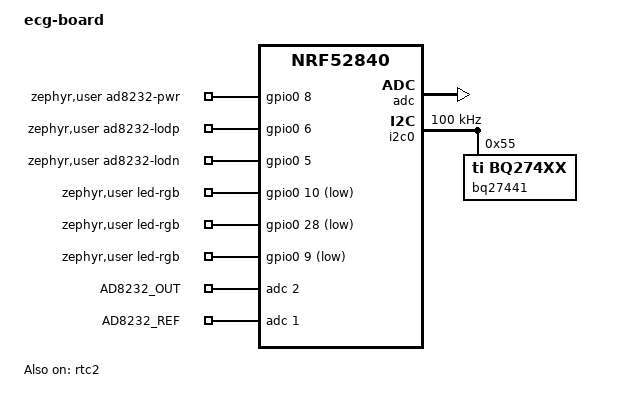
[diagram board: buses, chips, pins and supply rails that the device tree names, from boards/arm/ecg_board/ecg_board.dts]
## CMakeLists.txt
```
#
# Copyright (c) 2018 Nordic Semiconductor
#
# SPDX-License-Identifier: LicenseRef-Nordic-5-Clause
#
cmake_minimum_required(VERSION 3.20.0)
find_package(Zephyr REQUIRED HINTS $ENV{ZEPHYR_BASE})
project(NONE)

# Protobuf c source files generation
#set(NANOPB_OPTIONS "-I${CMAKE_SOURCE_DIR}")
#nanopb_generate_cpp(proto_sources proto_headers RELPATH .
#  protocol/renforce.proto
#)
list(APPEND CMAKE_MODULE_PATH ${ZEPHYR_BASE}/modules/nanopb)
include(nanopb)
zephyr_nanopb_sources(app protocol/protocol.proto)

# Make protobuf generated header files (in build dir) available to source files
#zephyr_library_include_directories(${CMAKE_CURRENT_BINARY_DIR})

# Include needed source files for build
FILE(GLOB app_sources src/*c src/bluetooth/*.c src/nanocobs/*.c src/calendar/*.c)

# Create app from source files AND protobuf files
#target_sources(app PRIVATE ${proto_sources} ${app_sources})
target_sources(app PRIVATE ${app_sources})
```

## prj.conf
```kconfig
CONFIG_ASSERT=n
CONFIG_SETTINGS=y
CONFIG_SETTINGS_RUNTIME=y
CONFIG_GPIO=y
CONFIG_ADC=y
CONFIG_I2C=y
CONFIG_NANOPB=y
CONFIG_SENSOR=y
CONFIG_BQ274XX=y

# Use RTC counter for calendar
CONFIG_COUNTER=y

# Log console
CONFIG_LOG=y
CONFIG_LOG_MODE_IMMEDIATE=n
CONFIG_CONSOLE=y
CONFIG_RTT_CONSOLE=y
CONFIG_USE_SEGGER_RTT=y

# Flash memory
CONFIG_FLASH=y
CONFIG_FLASH_LOG_LEVEL_OFF=y
CONFIG_FLASH_MAP=y
CONFIG_NVS=y
CONFIG_NVS_LOG_LEVEL_OFF=y

# Bluetooth
CONFIG_BT=y
CONFIG_BT_SMP=y
CONFIG_BT_SETTINGS=y
CONFIG_BT_LOG_LEVEL_OFF=y

CONFIG_BT_PERIPHERAL=y
CONFIG_BT_PERIPHERAL_PREF_MIN_INT=24
CONFIG_BT_PERIPHERAL_PREF_MAX_INT=48
CONFIG_BT_PERIPHERAL_PREF_LATENCY=4
CONFIG_BT_PERIPHERAL_PREF_TIMEOUT=200

CONFIG_BT_DEVICE_NAME_DYNAMIC=y
CONFIG_BT_DEVICE_NAME_MAX=30
CONFIG_BT_DEVICE_NAME="ECG"
CONFIG_BT_NUS=y
CONFIG_BT_BAS=y

CONFIG_BT_DIS=y
CONFIG_BT_DIS_SETTINGS=y
CONFIG_BT_DIS_HW_REV=y
CONFIG_BT_DIS_HW_REV_STR="1.0"
CONFIG_BT_DIS_FW_REV=y
# Firmware revision string will be updated in code with VERSION file
CONFIG_BT_DIS_FW_REV_STR="0.0.0"
CONFIG_BT_DIS_MANUF="INSA Lyon, CNRS"
CONFIG_BT_DIS_MODEL="Nervous ECG"
CONFIG_BT_DIS_PNP=n

CONFIG_BT_CTLR_PHY_2M=y
CONFIG_BT_AUTO_PHY_UPDATE=y
CONFIG_BT_CTLR_DATA_LENGTH_MAX=251
#CONFIG_BT_CTLR_RX_BUFFERS=2 gives a dependancy warning

CONFIG_BT_HCI_ACL_FLOW_CONTROL=y
CONFIG_BT_BUF_ACL_TX_COUNT=10
CONFIG_BT_BUF_ACL_TX_SIZE=502
CONFIG_BT_BUF_ACL_RX_SIZE=502

CONFIG_BT_USER_DATA_LEN_UPDATE=y
CONFIG_BT_USER_PHY_UPDATE=y
CONFIG_BT_GAP_AUTO_UPDATE_CONN_PARAMS=y

CONFIG_BT_ATT_PREPARE_COUNT=2
CONFIG_BT_L2CAP_TX_MTU=498
CONFIG_BT_L2CAP_DYNAMIC_CHANNEL=y
```

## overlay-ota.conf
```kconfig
# NCS 2.6.0
CONFIG_MCUMGR_MGMT_NOTIFICATION_HOOKS=y
CONFIG_MCUMGR_GRP_IMG_UPLOAD_CHECK_HOOK=y
CONFIG_MCUMGR_GRP_FS_FILE_ACCESS_HOOK=y
CONFIG_DISABLE_FLASH_PATCH=y

################################################################################
### SMP Server overlay for OTA from smp_svr example proj.conf
### Unused configurations have been commented (task stats)
################################################################################

# Enable MCUmgr and dependencies.
CONFIG_NET_BUF=y
CONFIG_ZCBOR=y
CONFIG_CRC=y
CONFIG_MCUMGR=y
CONFIG_STREAM_FLASH=y
CONFIG_FLASH_MAP=y

# Some command handlers require a large stack.
CONFIG_SYSTEM_WORKQUEUE_STACK_SIZE=2304
CONFIG_MAIN_STACK_SIZE=2048

# Ensure an MCUboot-compatible binary is generated.
CONFIG_BOOTLOADER_MCUBOOT=y

# Enable flash operations.
CONFIG_FLASH=y

# Required by the `taskstat` command.
#CONFIG_THREAD_MONITOR=y

# Support for taskstat command
#CONFIG_MCUMGR_GRP_OS_TASKSTAT=y

# Enable statistics and statistic names.
#CONFIG_STATS=y
#CONFIG_STATS_NAMES=y

# Enable most core commands.
CONFIG_FLASH=y
CONFIG_IMG_MANAGER=y
CONFIG_MCUMGR_GRP_IMG=y
CONFIG_MCUMGR_GRP_OS=y
#CONFIG_MCUMGR_GRP_STAT=y

# Enable logging
CONFIG_LOG=y
CONFIG_MCUBOOT_UTIL_LOG_LEVEL_WRN=y

# Disable debug logging
# CONFIG_LOG_MAX_LEVEL=3

################################################################################
### BT overlay for OTA from smp_svr example overlay-bt.conf
### Unused configurations have been commented (shell)
################################################################################

CONFIG_BT=y
CONFIG_BT_PERIPHERAL=y

# Allow for large Bluetooth data packets.
CONFIG_BT_L2CAP_TX_MTU=498
CONFIG_BT_BUF_ACL_RX_SIZE=502
CONFIG_BT_BUF_ACL_TX_SIZE=502
CONFIG_BT_CTLR_DATA_LENGTH_MAX=251

# Enable the Bluetooth mcumgr transport (unauthenticated).
CONFIG_MCUMGR_TRANSPORT_BT=y
CONFIG_MCUMGR_TRANSPORT_BT_AUTHEN=n
CONFIG_MCUMGR_TRANSPORT_BT_CONN_PARAM_CONTROL=y

# Enable the Shell mcumgr transport.
#CONFIG_BASE64=y
#CONFIG_SHELL=y
#CONFIG_SHELL_BACKEND_SERIAL=y
#CONFIG_SHELL_BACKEND_DUMMY=y
#CONFIG_MCUMGR_TRANSPORT_SHELL=y

# Enable the mcumgr Packet Reassembly feature over Bluetooth and its configuration dependencies.
# MCUmgr buffer size is optimized to fit one SMP packet divided into five Bluetooth Write Commands,
# transmitted with the maximum possible MTU value: 498 bytes.
CONFIG_MCUMGR_TRANSPORT_BT_REASSEMBLY=y
CONFIG_MCUMGR_TRANSPORT_NETBUF_SIZE=2475
CONFIG_MCUMGR_GRP_OS_MCUMGR_PARAMS=y
CONFIG_MCUMGR_TRANSPORT_WORKQUEUE_STACK_SIZE=4608

# Enable the LittleFS file system.
CONFIG_FILE_SYSTEM=y
CONFIG_FILE_SYSTEM_LITTLEFS=y

# Enable file system commands
CONFIG_MCUMGR_GRP_FS=y

# Enable the storage erase command.
CONFIG_MCUMGR_GRP_ZBASIC=y
CONFIG_MCUMGR_GRP_ZBASIC_STORAGE_ERASE=y

# Disable Bluetooth ping support
CONFIG_BT_CTLR_LE_PING=n

# Disable shell commands that are not needed
#CONFIG_CLOCK_CONTROL_NRF_SHELL=n
#CONFIG_DEVICE_SHELL=n
#CONFIG_DEVMEM_SHELL=n
#CONFIG_FLASH_SHELL=n
```

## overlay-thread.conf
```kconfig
################################################################################
### Thread stack analysis and report
################################################################################

CONFIG_THREAD_ANALYZER=y
CONFIG_THREAD_ANALYZER_USE_PRINTK=y
CONFIG_THREAD_ANALYZER_AUTO=y
CONFIG_THREAD_ANALYZER_AUTO_INTERVAL=5
CONFIG_THREAD_NAME=y
```

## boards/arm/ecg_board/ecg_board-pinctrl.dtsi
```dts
/* RENFORCE ECG board pin definitions */

&pinctrl {
    i2c0_default: i2c0_default {
        group1 {
            psels = <NRF_PSEL(TWIM_SCL, 0, 30)>,
                    <NRF_PSEL(TWIM_SDA, 0, 31)>;
        };
    };
    i2c0_sleep: i2c0_sleep {
        group1 {
            psels = <NRF_PSEL(TWIM_SCL, 0, 30)>,
                    <NRF_PSEL(TWIM_SDA, 0, 31)>;
            low-power-enable;
        };
    };
};
```

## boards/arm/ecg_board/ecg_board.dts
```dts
// Copyright (c) 2023 Nordic Semiconductor ASA
// SPDX-License-Identifier: Apache-2.0

/dts-v1/;

#include <nordic/nrf52840_qiaa.dtsi>
#include "ecg_board-pinctrl.dtsi"

/ {
	model = "ecg-board";
	compatible = "inl,ecg-board";

	chosen {
		zephyr,sram = &sram0;
		zephyr,flash = &flash0;
		zephyr,code-partition = &slot0_partition;
	};
	
	zephyr,user {
		ad8232-pwr-gpios  = < &gpio0  8  GPIO_ACTIVE_HIGH >; // 8 on final board
		ad8232-lodp-gpios = < &gpio0  6  GPIO_ACTIVE_HIGH >;
		ad8232-lodn-gpios = < &gpio0  5  GPIO_ACTIVE_HIGH >;
		led-rgb-gpios     = < &gpio0 10  GPIO_ACTIVE_LOW >,  // r
                            < &gpio0 28  GPIO_ACTIVE_LOW >,  // g
                            < &gpio0 9   GPIO_ACTIVE_LOW >;  // b
        io-channels       = < &adc 2 >, < &adc 1>; // This number correspond to AIN(n+1) ex. for AIN1 (P0.03) is 2 so it can be used directly in ADC configuration
        io-channel-names  = "AD8232_OUT", "AD8232_REF";
		
	};
};

&gpiote {
	status = "okay";
};

&gpio0 {
	status = "okay";
};

&gpio1 {
	status = "okay";
};

&uicr {
    nfct-pins-as-gpios;
};

&adc {
    status = "okay";
};

&i2c0 {
    compatible = "nordic,nrf-twi"; // Rather than nrf-twim, as it enabled large buffer burst-write without copying data
    status = "okay";
    clock-frequency = < I2C_BITRATE_STANDARD >;
    pinctrl-0 = <&i2c0_default>;
    pinctrl-1 = <&i2c0_sleep>;
    pinctrl-names = "default", "sleep";

    bq27441: bq27441@55 {
        compatible = "ti,bq274xx";
        reg = <0x55>;
        //int-gpios = <&gpio1 0 GPIO_ACTIVE_HIGH>; // fake an INT gpio necessary when using CONFIG_PM_DEVICE = y
        design-voltage = <4200>;
        design-capacity = <155>;
        taper-current = <15>;
        terminate-voltage = <3300>;
    };
};

&rtc2 {
	status = "okay";
	clock-frequency = <32768>;
	prescaler = <1>;
};

&flash0 {
	partitions {
		compatible = "fixed-partitions";
		#address-cells = <1>;
		#size-cells = <1>;

		boot_partition: partition@0 {
			label = "mcuboot";
			reg = <0x0 0xc000>;
		};
		slot0_partition: partition@c000 {
			label = "image-0";
			reg = <0xc000 0x72000>;
		};
		slot1_partition: partition@7e000 {
			label = "image-1";
			reg = <0x7e000 0x72000>;
		};
		scratch_partition: partition@f0000 {
			label = "image-scratch";
			reg = <0xf0000 0xa000>;
		};
		storage_partition: partition@fa000 {
			label = "storage";
			reg = <0xfa000 0x6000>;
		};
	};
};
```

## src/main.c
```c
/**
 *******************************************************************************
 * @file    main.c
 * @author  Bertrand Massot (bertrand.massot@insa-lyon.fr)
 * @date    2022-02-24
 * @brief   NERVOUS ECG project main file
 *******************************************************************************
 */

/*******************************************************************************
 * INCLUDES
 ******************************************************************************/

/* C Standard Library includes */
#include <stdio.h>

/* Zephyr Projet includes */
#include <zephyr/kernel.h>
#include <zephyr/logging/log.h>
#include <zephyr/settings/settings.h>
#include <zephyr/drivers/gpio.h>
#include <zephyr/drivers/sensor.h>
#include <zephyr/bluetooth/services/bas.h>
#include <pb_decode.h>

/* Application includes */
#include "bluetooth/bluetooth.h"
#include "calendar/calendar.h"
#include "measurement.h"
#include "nanocobs/cobs.h"

/* Generated headers */
#include "protocol/protocol.pb.h"
#include "app_version.h"

/*******************************************************************************
 * EXTERN VARIABLES
 ******************************************************************************/

/*******************************************************************************
 * PRIVATE MACROS AND DEFINES
 ******************************************************************************/

#define LOG_MODULE_NAME main
LOG_MODULE_REGISTER(LOG_MODULE_NAME);

#define MEASUREMENT_THREAD_PRIORITY	    -1

#define RGB_LED_BLINK_PERIOD            500     // ms
#define RUN_SLEEP_INTERVAL              60000   // ms

/*******************************************************************************
 * PRIVATE TYPEDEFS
 ******************************************************************************/

/* Application states enumeration */
typedef enum
{
    APP_STATE_MEASURING,
    NUM_OF_APP_STATES,
} app_state_t;

/* USB connection state */
typedef enum
{
    USB_STATE_DISCONNECTED,
    USB_STATE_CHARGING,
    USB_STATE_CHARGE_DONE,
    NUM_OF_USB_STATES,
} usb_state_t;

/*******************************************************************************
 * GLOBAL VARIABLES
 ******************************************************************************/

K_THREAD_STACK_DEFINE(measurement_stack_area, 512);
struct k_thread measurement_thread;
k_tid_t measurement_thread_tid;

K_THREAD_STACK_DEFINE(status_stack_area, 512);
struct k_thread status_thread;

/*******************************************************************************
 * STATIC FUNCTION PROTOTYPES
 ******************************************************************************/

/* Measurement thread control function (called async in working queue)*/
static void measurement_start(struct k_work * work);
static void measurement_stop (struct k_work * work);

/* BLE connection events */
static void ble_evt_callback(ble_event_type_t event);
/* BLE NUS data events */
static void ble_rx_callback(const uint8_t *const p_data, uint16_t length);

/* Fuel gauge helper */
static int32_t get_state_of_charge(const struct device *dev);

/* RGB LEd helpers */
static void rgb_led_init(void);
static void rgb_led_set(bool red, bool green, bool blue);
static void rgb_led_blink_blue(void);
static void rgb_led_timer_handler(struct k_timer *timer);

/*******************************************************************************
 * STATIC VARIABLES
 ******************************************************************************/

/* Start and stop work tasks */
K_WORK_DEFINE(start_measure, measurement_start);
K_WORK_DEFINE(stop_measure,  measurement_stop);

/* RGB led timer for blinking */
K_TIMER_DEFINE(rgb_led_timer, rgb_led_timer_handler, NULL);

/* RGB Led pins */
static const struct gpio_dt_spec led_red_pin    = GPIO_DT_SPEC_GET_BY_IDX(DT_PATH(zephyr_user), led_rgb_gpios, 0);
static const struct gpio_dt_spec led_green_pin  = GPIO_DT_SPEC_GET_BY_IDX(DT_PATH(zephyr_user), led_rgb_gpios, 1);
static const struct gpio_dt_spec led_blue_pin   = GPIO_DT_SPEC_GET_BY_IDX(DT_PATH(zephyr_user), led_rgb_gpios, 2);

/* Fuel gauge device */
static const struct device *fuel_gauge = DEVICE_DT_GET(DT_NODELABEL(bq27441));

/* Store global application state */
static app_state_t m_app_state;

/* Message reception buffers */
static uint8_t message[Timestamp_size + 1];
static Timestamp timestamp;

/*******************************************************************************
 * GLOBAL FUNCTIONS
 ******************************************************************************/
int main(void)
{
    printk("\n");
    printk("ECG Firmware version %s\n", APP_VERSION_STRING);

    /* Initialize RGB led pins and set white color to inform about boot */
    rgb_led_init();
    rgb_led_set(true, true, true);

    CAL_Init();

	/* Start Bluetooth stack */
	BLE_Init();
    BLE_SetEventCallback(ble_evt_callback);
    BLE_SetReceiveCallback(ble_rx_callback);

    /* Initialize and set frontend in shutdown */
    MEAS_Init();
    /* Create thread which will be internally paused immediately */
	measurement_thread_tid = k_thread_create(&measurement_thread, measurement_stack_area, 
									K_THREAD_STACK_SIZEOF(measurement_stack_area), 
									MEAS_Thread, NULL, NULL, NULL, 
									MEASUREMENT_THREAD_PRIORITY, 0, K_NO_WAIT);
	k_thread_name_set(measurement_thread_tid, "Measurement");

    /* Start advertising */
	BLE_StartAdvertising();
    rgb_led_blink_blue();

    printk("\n*** Application started ***\n\n");

	for (;;) {

        /* Periodically retrieve battery state */
        int battery = get_state_of_charge(fuel_gauge);
        bt_bas_set_battery_level(battery);  
        if (battery < 20) {
            rgb_led_set(true, false, false);
        }
        
        k_sleep(K_MSEC(RUN_SLEEP_INTERVAL));

	}
	
}


/*******************************************************************************
 * STATIC FUNCTIONS
 ******************************************************************************/

/* Start impedance measurement using current profile */
void measurement_start(struct k_work * work)
{
    LOG_INF("%s", "Start measurement thread");
    m_app_state = APP_STATE_MEASURING;
    MEAS_Enable(true);
    k_thread_resume(measurement_thread_tid);
}

/* Stop immediateley any measurement in progress */
void measurement_stop(struct k_work * work)
{
    LOG_INF("%s", "Abort measurement thread");
	k_thread_suspend(measurement_thread_tid);
    MEAS_Enable(false);
}

static int32_t get_state_of_charge(const struct device *dev) {
    int status = 0;
    struct sensor_value state_of_charge, avg_current, voltage;

    status = sensor_sample_fetch_chan(dev, SENSOR_CHAN_GAUGE_STATE_OF_CHARGE);
    if (status < 0) {
        LOG_ERR("Unable to fetch state of charge");
        return -1;
    }

    status = sensor_channel_get(dev, SENSOR_CHAN_GAUGE_STATE_OF_CHARGE, &state_of_charge);
    if (status < 0) {
        LOG_ERR("Unable to get state of charge");
        return -1;
    }
    
    status = sensor_sample_fetch_chan(dev, SENSOR_CHAN_GAUGE_AVG_CURRENT);
    if (status < 0) {
        LOG_ERR("Unable to fetch avg current");
        return -1;
    }

    status = sensor_channel_get(dev, SENSOR_CHAN_GAUGE_AVG_CURRENT, &avg_current);
    if (status < 0) {
        LOG_ERR("Unable to get avg current");
        return -1;
    }
    
    status = sensor_sample_fetch_chan(dev, SENSOR_CHAN_GAUGE_VOLTAGE);
    if (status < 0) {
        LOG_ERR("Unable to fetch voltage");
        return -1;
    }

    status = sensor_channel_get(dev, SENSOR_CHAN_GAUGE_VOLTAGE, &voltage);
    if (status < 0) {
        LOG_ERR("Unable to get voltage");
        return -1;
    }

    LOG_INF("State of charge: %d%%, current: %d mA, voltage: %d mV", state_of_charge.val1, avg_current.val1 * 1000 + avg_current.val2 / 1000, voltage.val1 * 1000 + voltage.val2 / 1000);

    return state_of_charge.val1;
}

/* Bluetooth events callback */
void ble_evt_callback(ble_event_type_t event)
{
    switch(event)
    {
        case BLE_EVT_CONNECTED:
            k_work_submit(&start_measure);
            rgb_led_set(false, false, true);
            LOG_INF("BLE connected");
            break;
        case BLE_EVT_DISCONNECTED:
            k_work_submit(&stop_measure);
            rgb_led_blink_blue();
            LOG_INF("BLE disconnected");
            break;
        case BLE_EVT_NUS_ENABLED:
            rgb_led_set(false, true, false);
            LOG_INF("BLE NUS notifications enabled");
            break;
        case BLE_EVT_NUS_DISABLED:
            rgb_led_set(false, false, true);
            LOG_INF("BLE NUS notifications disabled");
            break;
    }
}

/* BLE NUS data received */
static void ble_rx_callback(const uint8_t *const p_data, uint16_t length)
{
    if (length > sizeof(message))
    {
        LOG_ERR("Size of message is %u but max is %u", length, Timestamp_size + 1);
        return;
    }
    memcpy(message, p_data, length);
    cobs_ret_t cobs_ret = cobs_decode_inplace(message, length);
    if (cobs_ret != COBS_RET_SUCCESS)
    {
        LOG_ERR("error %d while decoding cobs", cobs_ret);
        return;
    }

    /* Decode protobuf message (should be a request) */
    pb_istream_t istream = pb_istream_from_buffer(message + 1, length - 2);
    bool status = pb_decode(&istream, Timestamp_fields, &timestamp);
    if (!status) {
        LOG_ERR("protobuf decoding failed: %s\n", PB_GET_ERROR(&istream));
        return;
    }

    CAL_SetTime(timestamp.time, timestamp.us);
}

/* Init RGB gpios */
static void rgb_led_init(void)
{
    gpio_pin_configure_dt(&led_red_pin,   GPIO_OUTPUT_INACTIVE);
    gpio_pin_configure_dt(&led_green_pin, GPIO_OUTPUT_INACTIVE);
    gpio_pin_configure_dt(&led_blue_pin,  GPIO_OUTPUT_INACTIVE);
}

/* Set RGB state */
static void rgb_led_set(bool red, bool green , bool blue)
{
    /* if led was blinking we need to be sure that timer is stopped */
    k_timer_stop(&rgb_led_timer);
    gpio_pin_set_dt(&led_red_pin,   red);
    gpio_pin_set_dt(&led_green_pin, green);
    gpio_pin_set_dt(&led_blue_pin,  blue);
}

/* Start the RGB led blinking timer */
static void rgb_led_blink_blue(void)
{
    rgb_led_set(false, false, true);
    k_timer_start(&rgb_led_timer, K_MSEC(RGB_LED_BLINK_PERIOD), K_MSEC(RGB_LED_BLINK_PERIOD));
}

/* RGB led blinking timer callback */
static void rgb_led_timer_handler(struct k_timer *timer)
{
    gpio_pin_toggle_dt(&led_blue_pin);
}
```

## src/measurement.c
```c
/**
 *******************************************************************************
 * @file    measurement.c
 * @author  Bertrand Massot (bertrand.massot@insa-lyon.fr)
 * @date    2022-03-29
 * @brief   Measurement thread module source file
 *******************************************************************************
 */

/*******************************************************************************
 * INCLUDES
 ******************************************************************************/

/* C Standard Library includes */
#include <errno.h>
#include <math.h>
#include <stdio.h>
#include <stdlib.h>

/* Zephyr Projet includes */
#include <zephyr/kernel.h>
#include <zephyr/logging/log.h>
#include <zephyr/drivers/gpio.h>
#include <zephyr/drivers/adc.h>
#include <bluetooth/services/nus.h>
#include <pb_encode.h>

/* Application includes */
#include "bluetooth/bluetooth.h"
#include "calendar/calendar.h"
#include "protocol/protocol.pb.h"
#include "nanocobs/cobs.h"
#include "measurement.h"


/*******************************************************************************
 * EXTERN VARIABLES
 ******************************************************************************/

/*******************************************************************************
 * PRIVATE MACROS AND DEFINES
 ******************************************************************************/

#define LOG_MODULE_NAME measurement
LOG_MODULE_REGISTER(LOG_MODULE_NAME);

#define ADC_SAMPLE_NUM (sizeof(((EcgBuffer *)0)->data))/2 /**< Number of samples acquired per buffer */
#define ADC_SAMPLE_INTERVAL     1953  /**< microseconds (= 1/512) */
/* The following value was experimentally adjusted */
#define ADC_BUFF_INTERVAL       (ADC_SAMPLE_INTERVAL - 368) /**< wait the necessary time (should be one sampling interval) before re-starting buffer acquisition */
/*******************************************************************************
 * PRIVATE TYPEDEFS
 ******************************************************************************/

/*******************************************************************************
 * STATIC VARIABLES
 ******************************************************************************/

/* Buffer timestamp */
static uint64_t timestamp;
static uint32_t us;

/* Protobuf stream buffer */
static pb_byte_t proto_buffer[EcgBuffer_size + 2]; // COBS needs one byte at start and one byte at end to store zero positions

/* ECG Data double buffering */
static int16_t buffer_1[ADC_SAMPLE_NUM];
static int16_t buffer_2[ADC_SAMPLE_NUM];
static int16_t * buffer_to_send = buffer_2;
static EcgBuffer ecgBuffer = {
    .data = {0},
    .lodpn = 0UL,
    .has_timestamp = true,
    .timestamp = {
        .time = 0ULL,
        .us = 0UL
    }
};

/* Lead off detection status variable */
static uint16_t lodpn;

/* AD8232 I/O pins */
const static struct gpio_dt_spec ad8232_pwr_pin_dt   = GPIO_DT_SPEC_GET(DT_PATH(zephyr_user), ad8232_pwr_gpios);
const static struct gpio_dt_spec ad8232_lodp_pin_dt  = GPIO_DT_SPEC_GET(DT_PATH(zephyr_user), ad8232_lodp_gpios);
const static struct gpio_dt_spec ad8232_lodn_pin_dt  = GPIO_DT_SPEC_GET(DT_PATH(zephyr_user), ad8232_lodn_gpios);

/* ADC Configuration */
const static struct device * adc_dev = DEVICE_DT_GET(DT_IO_CHANNELS_CTLR_BY_NAME(DT_PATH(zephyr_user), ad8232_out));
const static uint8_t ad8232_out_ch = DT_IO_CHANNELS_INPUT_BY_NAME(DT_PATH(zephyr_user), ad8232_out);
const static uint8_t ad8232_ref_ch = DT_IO_CHANNELS_INPUT_BY_NAME(DT_PATH(zephyr_user), ad8232_ref);

const struct adc_channel_cfg channel_cfg = {
    .acquisition_time = ADC_ACQ_TIME(ADC_ACQ_TIME_MICROSECONDS, 40),
    .differential = true,
    .gain = ADC_GAIN_1,
    .reference = ADC_REF_VDD_1_4,
    .channel_id = 0,
    .input_positive = ad8232_out_ch, // AIN1 is P0.03
    .input_negative = ad8232_ref_ch,
};

struct adc_sequence_options sequence_options = {
    .callback = NULL,
    .extra_samplings = ADC_SAMPLE_NUM - 1,
    .interval_us = ADC_SAMPLE_INTERVAL,
    .user_data = NULL,
};

struct adc_sequence sequence = {
    .buffer = buffer_1,
    .buffer_size = sizeof(buffer_1),
    .calibrate = false,
    .channels = BIT(0),
    .oversampling = 2,
    .resolution = 14,
    .options = &sequence_options,
};

/*******************************************************************************
 * STATIC FUNCTION PROTOTYPES
 ******************************************************************************/

/* Wake up system from sleep state */
void send_buffer(struct k_work *work);
K_WORK_DEFINE(ble_send, send_buffer);

/*******************************************************************************
 * GLOBAL FUNCTIONS
 ******************************************************************************/

void MEAS_Init(void)
{
	int err;

    /* Configure shutdown pin */
	err = gpio_pin_configure_dt(&ad8232_pwr_pin_dt, GPIO_OUTPUT_INACTIVE);
    if (err != 0) {
        LOG_ERR("failed configure ad8232 power pin (code %d)", err);
    }

    /* Configure lead-off detection pins */
    err = gpio_pin_configure_dt(&ad8232_lodp_pin_dt, GPIO_INPUT);
    if (err != 0) {
        LOG_ERR("failed configure ad8232 LOD+ pin (code %d)", err);
    }

    err = gpio_pin_configure_dt(&ad8232_lodn_pin_dt, GPIO_INPUT);
    if (err != 0) {
        LOG_ERR("failed configure ad8232 LOD- pin (code %d)", err);
    }

	if (!device_is_ready(adc_dev)) {
		LOG_ERR("ADC device is not ready %s", adc_dev->name);
	}
}


void MEAS_Enable(bool enable)
{
    int err;
    if (enable)
    {
        /* Power up AD8232 */
        err = gpio_pin_set_dt(&ad8232_pwr_pin_dt, 1);
        if (err != 0) {
        LOG_ERR("failed to set ad5940 power pin (code %d)", err);
        }
    }
    else {
        /* Power down AD8232 */
        err = gpio_pin_set_dt(&ad8232_pwr_pin_dt, 0);
        if (err != 0) {
         LOG_ERR("failed to clear ad5940 power pin (code %d)", err);
        }
    }
}

void MEAS_Read(void)
{
	int err;
    lodpn =  gpio_pin_get_dt(&ad8232_lodn_pin_dt) << 1; // RA (0 or 2)
    lodpn += gpio_pin_get_dt(&ad8232_lodp_pin_dt);      // LA (0 or 1)

    /* Set up ADC readings */
    err = adc_channel_setup(adc_dev, &channel_cfg);
    if (err != 0) {
       LOG_ERR("failed to configure adc channel (code %d)", err);
    }

    /* Start acquisition */
    err = adc_read(adc_dev, &sequence);
	if (err != 0) {
		LOG_ERR("failed to acquire adc channel (code %d)", err);
	}

    /* Swap buffers */
    if (sequence.buffer == buffer_1)
    {
        sequence.buffer = buffer_2;
        buffer_to_send = buffer_1;
    }
    else
    {
        sequence.buffer = buffer_1;
        buffer_to_send = buffer_2;
    }

    /* Launch sending task */
    err = k_work_submit(&ble_send);
	if (err < 0) {
		LOG_ERR("failed to launch aync ble sending (code %d)", err);
	}
}

void MEAS_Thread(void *p1, void *p2, void *p3)
{
    //LOG_INF("%s", "Measurement thread created");
    k_thread_suspend(k_current_get());
    while (1)
    {
        CAL_GetTime(&timestamp, &us);
        MEAS_Read();
        /* Add one delay between last sample and first sample of next buffer */
        //k_usleep(ADC_BUFF_INTERVAL);
        k_usleep(ADC_BUFF_INTERVAL);
    }
}

/*******************************************************************************
 * STATIC FUNCTIONS
 ******************************************************************************/
enum bt_nus_send_status status=1;
void send_buffer(struct k_work *work)
{
    if (BLE_IsSendEnabled())
    {
        memcpy(ecgBuffer.data, buffer_to_send, 2 * ADC_SAMPLE_NUM);
        ecgBuffer.lodpn = lodpn;
        ecgBuffer.timestamp.time = timestamp;
        ecgBuffer.timestamp.us = us;
        pb_ostream_t ostream = pb_ostream_from_buffer(proto_buffer + 1, EcgBuffer_size);

        bool pb_ret = pb_encode(&ostream, EcgBuffer_fields, &ecgBuffer);
        if (pb_ret == false) {
            LOG_ERR("Error while encoding protobuf : %s", ostream.errmsg);
             return;
        }
        proto_buffer[0] = COBS_INPLACE_SENTINEL_VALUE;
        proto_buffer[ostream.bytes_written + 1] = COBS_INPLACE_SENTINEL_VALUE;
        //ostream.bytes_written + 2 <= COBS_INPLACE_SAFE_BUFFER_SIZE ?
        cobs_ret_t cobs_ret = cobs_encode_inplace(proto_buffer, ostream.bytes_written + 2);
        // check for cobs_ret value
        if (cobs_ret != COBS_RET_SUCCESS) {
            LOG_ERR("Error while encoding COBS message (err %u)", cobs_ret);
             return;
        }
        BLE_Send((uint8_t *)proto_buffer, ostream.bytes_written + 2);
    }
}
```

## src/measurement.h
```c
/**
 *******************************************************************************
 * @file    measurement.h
 * @author  Bertrand Massot (bertrand.massot@insa-lyon.fr)
 * @date    2022-03-29
 * @brief   Measurement thread module header file
 *******************************************************************************
 */

#ifndef __MEASUREMENT_H__
#define __MEASUREMENT_H__

#ifdef __cplusplus
extern "C" {
#endif

/*******************************************************************************
 * INCLUDES
 ******************************************************************************/

/*******************************************************************************
 * MACROS AND DEFINES
 ******************************************************************************/

/*******************************************************************************
 * TYPEDEFS
 ******************************************************************************/

/*******************************************************************************
 * EXPORTED VARIABLES
 ******************************************************************************/

/*******************************************************************************
 * GLOBAL FUNCTION PROTOTYPES
 ******************************************************************************/

void MEAS_Init(void);

void MEAS_Enable(bool enable);

void MEAS_Read(void);

/**
 * @brief Thread to execute impedance measurement into a separate thread
 * which can be controlled / monitored
 * @param [in] p1 not used
 * @param [in] p2 not used
 * @param [in] p3 not used
 */
void MEAS_Thread(void * p1, void * p2, void * p3);

/**
 * @brief Initialize the calendar
 */

#ifdef __cplusplus
}
#endif

#endif /* __MEASUREMENT_H__ */
```
